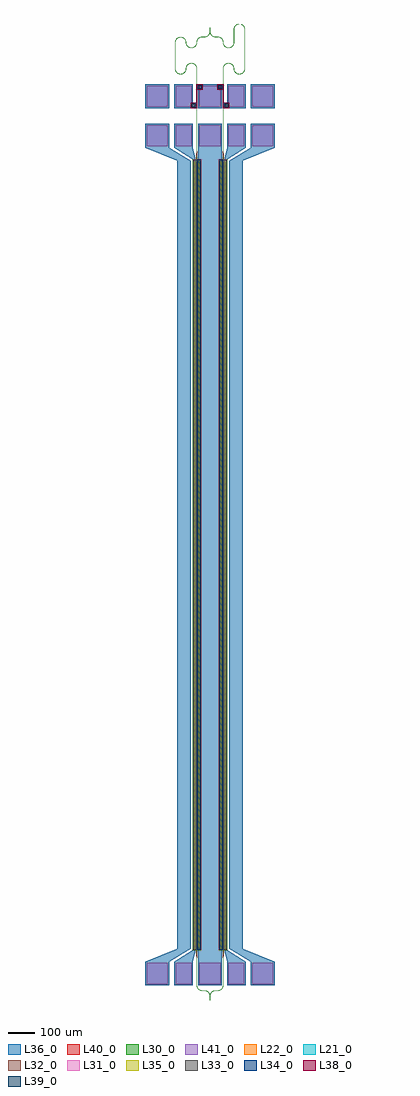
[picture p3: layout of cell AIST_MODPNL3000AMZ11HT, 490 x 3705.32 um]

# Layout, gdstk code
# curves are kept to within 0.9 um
import gdstk
lib = gdstk.Library(unit=1e-6, precision=1e-09)
def R(c, l, rs):  # rectangles x0, y0, x1, y1
    for r in rs: c.add(gdstk.rectangle(r[:2], r[2:], *l))
def A(c, l, x, y, w, h, nx, ny, dx, dy):  # array of equal rectangles
    R(c, l, [(x+i*dx, y+j*dy, x+i*dx+w, y+j*dy+h) for i in range(nx) for j in range(ny)])
def P(c, l, *ps):  # polygons
    for p in ps: c.add(gdstk.Polygon(p, *l))
L21_0 = (21, 0)
L22_0 = (22, 0)
L30_0 = (30, 0)
L31_0 = (31, 0)
L32_0 = (32, 0)
L33_0 = (33, 0)
L34_0 = (34, 0)
L35_0 = (35, 0)
L36_0 = (36, 0)
L38_0 = (38, 0)
L39_0 = (39, 0)
L40_0 = (40, 0)
L41_0 = (41, 0)

aist_modpnl3000amz11ht = lib.new_cell('AIST_MODPNL3000AMZ11HT')
R(aist_modpnl3000amz11ht, L21_0, [(-64.5,229.15,-49.85,3229.65), (49.85,229.15,64.5,3229.65)])
R(aist_modpnl3000amz11ht, L22_0, [(-50.15,228.9,-35.5,3229.9), (35.5,228.9,50.15,3229.9)])
P(aist_modpnl3000amz11ht, L30_0, [(-0.22,38.696),(-1.19,58.454),(-6.563,68.387),(-16.026,73.656),(-32.156,74.295),(-38.453,76.031),(-45.041,80.886),(-49.165,87.954),(-50.219,94.16),(-51,228.4),(-65,228.4),(-65,3230.4),(-35,3230.4),(-35,228.4),(-49,228.4),(-49.776,94),(-46.94,84.188),(-39.728,77.177),(-32.635,74.796),(-15.873,74.072),(-6.917,69.333),(-1.385,60.846),(-0.095,48.624),(1.385,60.846),(6.917,69.333),(15.873,74.072),(32.635,74.796),(39.728,77.177),(46.94,84.188),(49.776,94),(49,228.4),(35,228.4),(35,3230.4),(65,3230.4),(65,228.4),(51,228.4),(50.219,94.16),(49.139,87.878),(45.041,80.886),(38.453,76.031),(32.156,74.295),(16.026,73.656),(6.563,68.387),(1.258,58.768)],
  [(49,3230.4),(49.695,3250.4),(49.78,3260.4),(49.78,3574.88),(49.952,3577.433),(50.328,3579.477),(50.939,3581.548),(51.699,3583.398),(52.637,3585.163),(53.793,3586.891),(55.067,3588.433),(56.486,3589.841),(58.037,3591.102),(59.637,3592.163),(61.547,3593.169),(63.327,3593.887),(65.323,3594.472),(67.05,3594.804),(69.12,3595.001),(71.64,3595.01),(73.633,3594.848),(75.677,3594.472),(77.748,3593.861),(79.598,3593.101),(81.363,3592.163),(83.091,3591.007),(84.633,3589.733),(86.041,3588.314),(87.302,3586.763),(88.363,3585.163),(89.198,3583.614),(89.895,3581.999),(90.493,3580.175),(90.871,3578.539),(91.105,3576.956),(91.21,3575.44),(91.261,3572.52),(91.547,3570.216),(92.173,3567.733),(92.605,3566.527),(93.184,3565.207),(93.937,3563.795),(94.848,3562.382),(95.928,3560.99),(97.013,3559.813),(98.19,3558.728),(99.451,3557.741),(100.788,3556.86),(102.192,3556.089),(104.026,3555.29),(105.932,3554.68),(108.048,3554.241),(109.959,3554.047),(112.641,3554.03),(114.635,3554.196),(116.835,3554.62),(118.824,3555.234),(120.808,3556.089),(122.485,3557.027),(124.252,3558.271),(125.816,3559.645),(127.226,3561.174),(128.469,3562.844),(129.529,3564.635),(130.395,3566.527),(130.991,3568.269),(131.408,3569.98),(131.671,3571.722),(131.779,3573.56),(131.78,3723.88),(131.702,3725.559),(131.408,3727.62),(130.899,3729.638),(130.181,3731.591),(129.223,3733.528),(128.059,3735.349),(126.81,3736.912),(125.291,3738.449),(123.549,3739.859),(121.728,3741.023),(120.084,3741.853),(118.295,3742.552),(116.368,3743.092),(114.635,3743.404),(113.041,3743.553),(106.805,3743.58),(108.606,3743.878),(110.36,3744.01),(112.88,3744.001),(114.633,3743.848),(116.444,3743.526),(117.989,3743.113),(119.645,3742.519),(121.173,3741.82),(122.5,3741.08),(123.963,3740.102),(125.274,3739.053),(126.55,3737.841),(127.716,3736.523),(128.627,3735.307),(129.604,3733.748),(130.369,3732.253),(131.007,3730.699),(131.514,3729.098),(131.886,3727.46),(132.129,3725.717),(132.22,3723.88),(132.219,3573.56),(132.105,3571.644),(131.826,3569.826),(131.405,3568.117),(130.838,3566.452),(129.947,3564.485),(128.895,3562.691),(127.716,3561.077),(126.213,3559.418),(124.661,3558.034),(122.975,3556.817),(121.173,3555.78),(119.199,3554.905),(117.143,3554.245),(114.95,3553.796),(112.88,3553.599),(110.12,3553.599),(108.05,3553.796),(106.089,3554.185),(104.101,3554.793),(102.114,3555.637),(100.637,3556.437),(99.232,3557.357),(97.969,3558.339),(96.787,3559.418),(95.695,3560.586),(94.557,3562.032),(93.637,3563.437),(92.837,3564.914),(91.835,3567.354),(91.425,3568.734),(91.114,3570.14),(90.831,3572.361),(90.77,3575.441),(90.671,3576.878),(90.453,3578.384),(90.057,3580.1),(89.51,3581.774),(88.816,3583.393),(87.94,3585.012),(86.965,3586.478),(85.649,3588.091),(84.291,3589.449),(82.807,3590.67),(81.212,3591.74),(79.376,3592.719),(77.522,3593.474),(75.524,3594.056),(73.635,3594.404),(71.641,3594.57),(69.199,3594.564),(67.365,3594.404),(65.476,3594.056),(63.478,3593.474),(61.697,3592.753),(59.995,3591.863),(58.322,3590.765),(56.709,3589.449),(55.351,3588.091),(54.13,3586.607),(53.06,3585.012),(52.081,3583.176),(51.326,3581.322),(50.744,3579.324),(50.396,3577.435),(50.22,3574.88),(50.22,3260.4),(50.305,3250.4),(51,3230.4)],
  [(69.92,3653.58),(67.606,3653.722),(65.323,3654.128),(63.101,3654.793),(60.97,3655.708),(59.025,3656.817),(57.153,3658.186),(55.45,3659.759),(53.938,3661.517),(52.888,3663.028),(51.908,3664.77),(51.105,3666.601),(50.486,3668.502),(50.114,3670.14),(49.895,3671.644),(49.79,3673.16),(49.744,3676),(49.534,3677.91),(49.057,3680.1),(48.244,3682.443),(47.063,3684.805),(45.529,3687.052),(43.701,3689.067),(41.678,3690.765),(39.728,3692.023),(37.643,3693.044),(35.531,3693.791),(33.347,3694.295),(31.919,3694.487),(30.4,3694.576),(19.431,3694.611),(17.284,3694.845),(15.252,3695.286),(12.905,3696.081),(10.602,3697.196),(8.459,3698.593),(6.509,3700.25),(4.834,3702.077),(3.438,3704.028),(2.181,3706.347),(1.285,3708.658),(0.74,3710.747),(0.421,3712.883),(0.095,3720.576),(-0.095,3720.576),(-0.361,3713.681),(-0.595,3711.534),(-0.878,3710.123),(-1.237,3708.811),(-2.181,3706.347),(-2.946,3704.852),(-3.743,3703.558),(-4.734,3702.202),(-5.671,3701.108),(-6.8,3699.975),(-7.952,3698.984),(-9.308,3697.993),(-10.683,3697.151),(-10.683,3697.657),(-9.001,3698.741),(-7.498,3699.937),(-6.063,3701.332),(-4.825,3702.801),(-3.82,3704.247),(-2.984,3705.706),(-2.245,3707.305),(-1.651,3708.962),(-1.097,3711.216),(-0.811,3713.52),(-0.77,3714.8),(-1.005,3720.576),(-1.105,3720.576),(-1.105,3724.728),(-0.455,3724.728),(-0.22,3730.504),(0.22,3730.504),(0.455,3724.728),(1.105,3724.728),(1.105,3720.576),(1.005,3720.576),(0.771,3714.56),(0.906,3712.483),(1.258,3710.432),(1.984,3707.976),(3.096,3705.493),(4.491,3703.251),(5.324,3702.174),(6.283,3701.099),(8.235,3699.321),(10.338,3697.86),(12.759,3696.619),(15.25,3695.743),(17.44,3695.266),(19.509,3695.047),(30.4,3695.016),(31.917,3694.929),(33.266,3694.755),(35.375,3694.293),(37.497,3693.579),(39.598,3692.597),(41.507,3691.427),(43.633,3689.733),(45.512,3687.77),(47.112,3685.572),(47.835,3684.327),(48.468,3683.034),(49.313,3680.789),(49.928,3678.224),(50.189,3675.919),(50.23,3673.159),(50.329,3671.722),(50.592,3669.98),(51.009,3668.269),(51.695,3666.305),(52.546,3664.493),(53.621,3662.711),(54.928,3660.99),(56.709,3659.151),(58.647,3657.602),(60.835,3656.271),(63.176,3655.234),(65.476,3654.544),(67.922,3654.129),(69.359,3654.03),(71.08,3654.02),(73.317,3654.156),(74.82,3654.392),(76.3,3654.743),(77.824,3655.234),(79.084,3655.747),(80.518,3656.46),(81.755,3657.199),(83,3658.075),(84.052,3658.937),(84.987,3659.813),(86.072,3660.99),(87.059,3662.251),(87.899,3663.52),(88.639,3664.849),(89.244,3666.157),(89.752,3667.505),(90.199,3669.042),(90.604,3671.165),(90.779,3673.56),(90.79,3724.44),(90.952,3726.433),(91.274,3728.244),(91.735,3729.942),(92.404,3731.741),(93.053,3733.115),(93.72,3734.3),(94.557,3735.568),(95.539,3736.831),(96.562,3737.956),(97.605,3738.947),(98.717,3739.862),(100.025,3740.783),(101.614,3741.71),(103.059,3742.396),(104.554,3742.965),(106.089,3743.415),(106.805,3743.58),(110.92,3743.58),(109.32,3743.509),(107.653,3743.295),(106.165,3742.98),(104.705,3742.552),(103.209,3741.981),(101.693,3741.254),(100.245,3740.401),(99.001,3739.525),(97.769,3738.503),(96.623,3737.385),(95.621,3736.24),(94.621,3734.889),(93.777,3733.528),(93.047,3732.103),(92.434,3730.624),(91.943,3729.1),(91.418,3726.593),(91.221,3724.04),(91.201,3672.92),(91.004,3670.85),(90.672,3669.123),(90.087,3667.127),(89.369,3665.347),(88.682,3663.992),(87.895,3662.691),(87.062,3661.517),(86.041,3660.286),(85.041,3659.25),(83.847,3658.186),(82.638,3657.265),(81.363,3656.437),(80.173,3655.78),(78.793,3655.142),(77.446,3654.635),(75.911,3654.185),(74.424,3653.872),(73.156,3653.695),(71.64,3653.59)],
  [(-51,3230.4),(-50.305,3250.4),(-50.22,3260.4),(-50.22,3574.88),(-50.298,3576.559),(-50.547,3578.384),(-51.009,3580.331),(-51.695,3582.295),(-52.546,3584.107),(-53.621,3585.889),(-54.928,3587.61),(-56.299,3589.067),(-57.748,3590.329),(-59.447,3591.53),(-61.192,3592.511),(-63.026,3593.31),(-64.932,3593.92),(-66.89,3594.334),(-69.039,3594.557),(-71.641,3594.57),(-73.635,3594.404),(-75.368,3594.092),(-77.295,3593.552),(-79.084,3592.853),(-80.728,3592.023),(-82.287,3591.044),(-83.81,3589.872),(-85.155,3588.616),(-86.379,3587.24),(-87.469,3585.756),(-88.34,3584.318),(-89.053,3582.884),(-89.674,3581.322),(-90.18,3579.635),(-90.495,3578.147),(-90.687,3576.719),(-90.811,3572.681),(-91.045,3570.534),(-91.595,3568.117),(-92.404,3565.859),(-93.053,3564.485),(-93.72,3563.3),(-94.557,3562.032),(-95.539,3560.769),(-96.562,3559.644),(-97.605,3558.653),(-98.717,3557.738),(-100.025,3556.817),(-101.614,3555.89),(-103.355,3555.081),(-105.087,3554.464),(-107.026,3553.974),(-108.844,3553.695),(-110.6,3553.584),(-112.88,3553.599),(-114.95,3553.796),(-116.677,3554.128),(-118.522,3554.661),(-120.234,3555.332),(-121.948,3556.196),(-123.507,3557.173),(-124.97,3558.288),(-126.213,3559.418),(-127.461,3560.769),(-128.443,3562.032),(-129.363,3563.437),(-130.163,3564.914),(-130.838,3566.452),(-131.405,3568.117),(-131.794,3569.669),(-132.068,3571.326),(-132.201,3572.92),(-132.22,3673.88),(-132.157,3675.398),(-131.826,3677.774),(-131.265,3679.942),(-130.468,3682.034),(-129.363,3684.163),(-128.062,3686.083),(-126.55,3687.841),(-124.847,3689.414),(-122.975,3690.783),(-121.03,3691.892),(-118.899,3692.807),(-116.911,3693.415),(-114.633,3693.848),(-112.4,3694.016),(-109.402,3693.957),(-107.026,3693.626),(-104.858,3693.065),(-103.059,3692.396),(-101.473,3691.635),(-99.891,3690.695),(-98.402,3689.616),(-96.959,3688.35),(-95.747,3687.074),(-94.698,3685.763),(-93.637,3684.163),(-92.908,3682.83),(-92.281,3681.445),(-91.735,3679.942),(-91.328,3678.477),(-90.895,3675.956),(-90.739,3672.52),(-90.559,3670.848),(-90.18,3668.965),(-89.674,3667.278),(-88.816,3665.207),(-87.773,3663.315),(-86.479,3661.485),(-84.987,3659.813),(-83.252,3658.271),(-81.212,3656.86),(-79.084,3655.747),(-76.684,3654.854),(-74.347,3654.305),(-71.961,3654.043),(-68.959,3654.047),(-66.416,3654.347),(-64.469,3654.809),(-62.727,3655.405),(-60.835,3656.271),(-59.044,3657.331),(-57.56,3658.421),(-56.013,3659.813),(-54.621,3661.36),(-53.531,3662.844),(-52.66,3664.282),(-51.947,3665.716),(-51.326,3667.278),(-50.801,3669.042),(-50.505,3670.453),(-50.298,3672.041),(-50.189,3675.919),(-49.98,3677.908),(-49.493,3680.175),(-48.779,3682.297),(-47.604,3684.748),(-46.895,3685.909),(-46.062,3687.083),(-44.382,3689.013),(-43.395,3689.947),(-42.283,3690.862),(-40.363,3692.163),(-38.453,3693.169),(-36.446,3693.965),(-34.131,3694.594),(-32.394,3694.878),(-30.64,3695.01),(-20.31,3695.021),(-17.915,3695.196),(-16.026,3695.544),(-14.255,3696.048),(-12.466,3696.747),(-10.683,3697.657),(-10.683,3697.151),(-12.757,3696.142),(-15.175,3695.307),(-17.6,3694.796),(-20.31,3694.581),(-30.801,3694.564),(-32.635,3694.404),(-34.524,3694.056),(-36.522,3693.474),(-38.593,3692.616),(-40.485,3691.573),(-42.252,3690.329),(-43.291,3689.449),(-44.267,3688.501),(-45.87,3686.607),(-46.601,3685.555),(-47.34,3684.318),(-48.395,3682.073),(-49.12,3679.868),(-49.559,3677.752),(-49.753,3675.841),(-49.871,3671.883),(-50.045,3670.534),(-50.328,3669.123),(-50.835,3667.354),(-51.404,3665.859),(-52.203,3664.202),(-53.105,3662.691),(-54.284,3661.077),(-55.618,3659.587),(-57.153,3658.186),(-58.758,3656.993),(-60.614,3655.89),(-62.355,3655.081),(-64.317,3654.395),(-66.34,3653.914),(-68.881,3653.611),(-71.88,3653.599),(-74.266,3653.845),(-76.683,3654.395),(-79.088,3655.268),(-81.363,3656.437),(-83.472,3657.885),(-85.382,3659.587),(-86.816,3661.202),(-88.112,3663.028),(-89.198,3664.986),(-90.061,3667.052),(-90.615,3668.889),(-91.004,3670.85),(-91.169,3672.361),(-91.313,3675.719),(-91.744,3678.324),(-92.101,3679.638),(-92.605,3681.073),(-93.219,3682.465),(-93.937,3683.805),(-94.941,3685.349),(-96.032,3686.731),(-97.299,3688.067),(-98.56,3689.179),(-100.044,3690.269),(-101.482,3691.14),(-103.062,3691.917),(-104.705,3692.552),(-106.946,3693.16),(-109.081,3693.487),(-112.08,3693.58),(-114.078,3693.471),(-116.368,3693.092),(-118.522,3692.474),(-120.593,3691.616),(-122.485,3690.573),(-124.315,3689.279),(-125.987,3687.787),(-127.529,3686.052),(-128.857,3684.149),(-129.919,3682.176),(-130.752,3680.095),(-131.376,3677.777),(-131.709,3675.48),(-131.78,3673.88),(-131.764,3572.999),(-131.644,3571.483),(-131.36,3569.745),(-130.946,3568.116),(-130.395,3566.527),(-129.711,3564.992),(-128.94,3563.588),(-128.059,3562.251),(-127.072,3560.99),(-125.816,3559.645),(-124.44,3558.421),(-122.956,3557.331),(-121.518,3556.46),(-119.938,3555.683),(-118.295,3555.048),(-116.524,3554.544),(-114.793,3554.218),(-112.801,3554.036),(-110.359,3554.03),(-108.683,3554.156),(-107.023,3554.424),(-105.316,3554.854),(-103.505,3555.495),(-101.835,3556.271),(-100.245,3557.199),(-99,3558.075),(-97.948,3558.937),(-97.013,3559.813),(-95.928,3560.99),(-95.035,3562.122),(-94.227,3563.315),(-93.471,3564.635),(-92.819,3566.009),(-92.009,3568.269),(-91.466,3570.69),(-91.247,3572.759),(-91.129,3576.717),(-90.928,3578.224),(-90.615,3579.711),(-90.087,3581.473),(-89.468,3583.034),(-88.682,3584.608),(-87.807,3586.042),(-86.716,3587.523),(-85.382,3589.013),(-84.031,3590.261),(-82.507,3591.427),(-80.948,3592.404),(-79.234,3593.268),(-77.446,3593.965),(-75.444,3594.526),(-73.633,3594.848),(-71.64,3595.01),(-68.881,3594.989),(-66.734,3594.755),(-64.702,3594.314),(-62.801,3593.695),(-60.97,3592.892),(-59.16,3591.869),(-57.402,3590.616),(-55.844,3589.238),(-54.488,3587.77),(-53.193,3586.042),(-52.09,3584.186),(-51.281,3582.445),(-50.595,3580.483),(-50.114,3578.46),(-49.871,3576.717),(-49.78,3574.88),(-49.78,3260.4),(-49.695,3250.4),(-49,3230.4)])
R(aist_modpnl3000amz11ht, L31_0, [(-64.5,228.9,-50,3229.9), (50,228.9,64.5,3229.9)])
R(aist_modpnl3000amz11ht, L32_0, [(-50,228.9,-35.5,3229.9), (35.5,228.9,50,3229.9)])
R(aist_modpnl3000amz11ht, L33_0, [(-64.5,229.4,-51.15,3229.4), (51.15,229.4,64.5,3229.4)])
R(aist_modpnl3000amz11ht, L34_0, [(-48.85,229.4,-35.5,3229.4), (35.5,229.4,48.85,3229.4)])
R(aist_modpnl3000amz11ht, L35_0, [(-63,230.4,-56,3228.4), (-44,230.4,-37,3228.4), (37,230.4,44,3228.4), (56,230.4,63,3228.4)])
A(aist_modpnl3000amz11ht, L36_0, -245, 94.4, 90, 90, 3, 2, 200, 3180)
A(aist_modpnl3000amz11ht, L36_0, -245, 3424.8, 90, 90, 3, 1, 200, 0)
R(aist_modpnl3000amz11ht, L36_0, [(-245,94.4,-155,184.4), (-135,94.4,-65,184.4), (65,94.4,135,184.4), (155,94.4,245,184.4), (-64.5,229.4,-54.5,3229.4), (-45.5,229.4,45.5,3229.4), (54.5,229.4,64.5,3229.4), (-123.5,233.4,-73.5,3225.4), (73.5,233.4,123.5,3225.4), (-245,3274.4,-155,3364.4), (-135,3274.4,-65,3364.4), (65,3274.4,135,3364.4), (155,3274.4,245,3364.4), (-245,3424.8,-155,3514.8), (-135,3424.8,-65,3514.8), (-72.5,3424.8,-52.5,3444.8), (-72.5,3424.8,-52.5,3444.8), (52.5,3424.8,72.5,3444.8), (52.5,3424.8,72.5,3444.8), (65,3424.8,135,3514.8), (155,3424.8,245,3514.8), (-47.5,3494.8,-27.5,3514.8), (-47.5,3494.8,-27.5,3514.8), (27.5,3494.8,47.5,3514.8), (27.5,3494.8,47.5,3514.8)])
P(aist_modpnl3000amz11ht, L36_0, [(-123.5,3225.4),(-245,3274.4),(-155,3274.4),(-73.5,3225.4)],
  [(-64.5,3229.4),(-135,3274.4),(-65,3274.4),(-54.5,3229.4)],
  [(-45.5,3229.4),(-45,3274.4),(45,3274.4),(45.5,3229.4)],
  [(54.5,3229.4),(65,3274.4),(135,3274.4),(64.5,3229.4)],
  [(73.5,3225.4),(155,3274.4),(245,3274.4),(123.5,3225.4)],
  [(-245,184.4),(-123.5,233.4),(-73.5,233.4),(-155,184.4)],
  [(-135,184.4),(-64.5,229.4),(-54.5,229.4),(-65,184.4)],
  [(-45,184.4),(-45.5,229.4),(45.5,229.4),(45,184.4)],
  [(65,184.4),(54.5,229.4),(64.5,229.4),(135,184.4)],
  [(155,184.4),(73.5,233.4),(123.5,233.4),(245,184.4)])
R(aist_modpnl3000amz11ht, L38_0, [(-72.5,3424.8,-52.5,3444.8), (-52.5,3424.8,-47.5,3514.8), (47.5,3424.8,52.5,3514.8), (52.5,3424.8,72.5,3444.8), (-47.5,3494.8,-27.5,3514.8), (27.5,3494.8,47.5,3514.8)])
R(aist_modpnl3000amz11ht, L39_0, [(-69.5,3427.8,-55.5,3441.8), (55.5,3427.8,69.5,3441.8), (-44.5,3497.8,-30.5,3511.8), (30.5,3497.8,44.5,3511.8)])
P(aist_modpnl3000amz11ht, L40_0, [(48.78,198.4),(48.695,208.4),(48,227.4),(34,227.4),(34,3231.4),(48,3231.4),(48.695,3250.4),(48.78,3260.4),(49.695,3260.4),(49.695,198.4)],
  [(50.305,198.4),(50.305,3260.4),(51.22,3260.4),(51.305,3250.4),(52,3231.4),(66,3231.4),(66,227.4),(52,227.4),(51.305,208.4),(51.22,198.4)],
  [(-51.22,198.4),(-51.305,208.4),(-52,227.4),(-66,227.4),(-66,3231.4),(-52,3231.4),(-51.305,3250.4),(-51.22,3260.4),(-50.305,3260.4),(-50.305,198.4)],
  [(-49.695,198.4),(-49.695,3260.4),(-48.78,3260.4),(-48.695,3250.4),(-48,3231.4),(-34,3231.4),(-34,227.4),(-48,227.4),(-48.695,208.4),(-48.78,198.4)])
A(aist_modpnl3000amz11ht, L41_0, -240, 99.4, 80, 80, 3, 2, 200, 3180)
A(aist_modpnl3000amz11ht, L41_0, -240, 3429.8, 80, 80, 3, 1, 200, 0)
R(aist_modpnl3000amz11ht, L41_0, [(-240,99.4,-160,179.4), (-130,99.4,-70,179.4), (70,99.4,130,179.4), (160,99.4,240,179.4), (-240,3279.4,-160,3359.4), (-130,3279.4,-70,3359.4), (70,3279.4,130,3359.4), (160,3279.4,240,3359.4), (-240,3429.8,-160,3509.8), (-130,3429.8,-70,3509.8), (70,3429.8,130,3509.8), (160,3429.8,240,3509.8)])

lib.write_gds('AIST_MODPNL3000AMZ11HT.gds')
